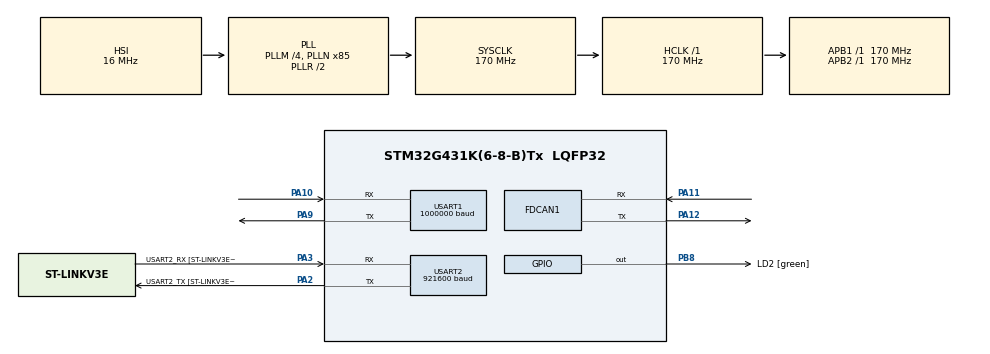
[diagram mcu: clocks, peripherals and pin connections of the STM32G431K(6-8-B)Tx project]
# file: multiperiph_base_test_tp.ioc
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Dma.Request0=USART1_RX
Dma.USART1_RX.0.Direction=DMA_PERIPH_TO_MEMORY
Dma.USART1_RX.0.EventEnable=DISABLE
Dma.USART1_RX.0.Instance=DMA1_Channel1
Dma.USART1_RX.0.MemDataAlignment=DMA_MDATAALIGN_BYTE
Dma.USART1_RX.0.MemInc=DMA_MINC_ENABLE
Dma.USART1_RX.0.Mode=DMA_CIRCULAR
Dma.USART1_RX.0.PeriphDataAlignment=DMA_PDATAALIGN_BYTE
Dma.USART1_RX.0.PeriphInc=DMA_PINC_DISABLE
Dma.USART1_RX.0.Polarity=HAL_DMAMUX_REQ_GEN_RISING
Dma.USART1_RX.0.Priority=DMA_PRIORITY_VERY_HIGH
Dma.USART1_RX.0.RequestNumber=1
Dma.USART1_RX.0.SignalID=NONE
Dma.USART1_RX.0.SyncEnable=DISABLE
Dma.USART1_RX.0.SyncPolarity=HAL_DMAMUX_SYNC_NO_EVENT
Dma.USART1_RX.0.SyncRequestNumber=1
Dma.USART1_RX.0.SyncSignalID=NONE
FDCAN1.CalculateBaudRateNominal=1111111
FDCAN1.CalculateTimeBitNominal=900
FDCAN1.CalculateTimeQuantumNominal=100.0
FDCAN1.NominalPrescaler=17
FDCAN1.NominalTimeSeg1=7
Mcu.Family=STM32G4
Mcu.Name=STM32G431K(6-8-B)Tx
Mcu.Package=LQFP32
NVIC.DMA1_Channel1_IRQn=true\:0\:0\:false\:false\:true\:false\:true\:true
NVIC.FDCAN1_IT0_IRQn=true\:0\:0\:false\:false\:true\:true\:true\:true
NVIC.PriorityGroup=NVIC_PRIORITYGROUP_4
NVIC.USART1_IRQn=true\:0\:0\:false\:false\:true\:true\:true\:true
NVIC.USART2_IRQn=true\:0\:0\:false\:false\:true\:true\:true\:true
PA10.Mode=Asynchronous
PA10.Signal=USART1_RX
PA11.Mode=FDCAN_Activate
PA11.Signal=FDCAN1_RX
PA12.Mode=FDCAN_Activate
PA12.Signal=FDCAN1_TX
PA13.GPIO_Label=T_SWDIO
PA13.Mode=Serial_Wire
PA13.Signal=SYS_JTMS-SWDIO
PA14.GPIO_Label=T_SWCLK
PA14.Mode=Serial_Wire
PA14.Signal=SYS_JTCK-SWCLK
PA2.GPIO_Label=USART2_TX [ST-LINKV3E_VCP_RX]
PA2.Mode=Asynchronous
PA2.Signal=USART2_TX
PA3.GPIO_Label=USART2_RX [ST-LINKV3E_VCP_TX]
PA3.Mode=Asynchronous
PA3.Signal=USART2_RX
PA9.Mode=Asynchronous
PA9.Signal=USART1_TX
PB3.GPIO_Label=T_SWO
PB3.Signal=SYS_JTDO-SWO
PB8-BOOT0.GPIO_Label=LD2 [green]
PB8-BOOT0.Signal=GPIO_Output
ProjectManager.HeapSize=0x200
ProjectManager.StackSize=0x400
ProjectManager.TargetToolchain=STM32CubeIDE
RCC.ADC12Freq_Value=170000000
RCC.AHBFreq_Value=170000000
RCC.APB1Freq_Value=170000000
RCC.APB1TimFreq_Value=170000000
RCC.APB2Freq_Value=170000000
RCC.APB2TimFreq_Value=170000000
RCC.CortexFreq_Value=170000000
RCC.EXTERNAL_CLOCK_VALUE=12288000
RCC.HCLKFreq_Value=170000000
RCC.HSE_VALUE=8000000
RCC.HSI48_VALUE=48000000
RCC.HSI_VALUE=16000000
RCC.LSE_VALUE=32768
RCC.PLLM=RCC_PLLM_DIV4
RCC.PLLN=85
RCC.SYSCLKFreq_VALUE=170000000
RCC.SYSCLKSource=RCC_SYSCLKSOURCE_PLLCLK
RCC.USBFreq_Value=170000000
RCC.VCOOutputFreq_Value=340000000
USART1.BaudRate=1000000
USART1.SwapParam=ADVFEATURE_SWAP_ENABLE
USART1.VirtualMode-Asynchronous=VM_ASYNC
USART2.BaudRate=921600
USART2.VirtualMode-Asynchronous=VM_ASYNC
USART2.WordLength=WORDLENGTH_8B
VP_SYS_VS_DBSignals.Mode=DisableDeadBatterySignals
board=NUCLEO-G431KB

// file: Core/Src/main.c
/* USER CODE BEGIN Header */
/**
 ******************************************************************************
 * @file           : main.c
 * @brief          : Main program body
 ******************************************************************************
 * @attention
 *
 * Copyright (c) 2024 STMicroelectronics.
 * All rights reserved.
 *
 * This software is licensed under terms that can be found in the LICENSE file
 * in the root directory of this software component.
 * If no LICENSE file comes with this software, it is provided AS-IS.
 *
 ******************************************************************************
 */
/* USER CODE END Header */
#include "main.h"
#include "dma.h"
#include "fdcan.h"
#include "usart.h"
#include "gpio.h"

/* USER CODE BEGIN Includes */
#include <stdio.h>
#include <stdbool.h>
#include <lidar.h>
#include <ihm.h>
#include "test.h"
#include "deplacement.h"
#include "utils.h"
#include <math.h> //pour formule

#define VERBOSE

/* USER CODE END Includes */

/* USER CODE BEGIN PV */
uint8_t flag_reception_uart2 = 0;
uint8_t caractere;

bool lidar_av = 0  ;

/* USER CODE END PV */

void SystemClock_Config(void);

/* USER CODE BEGIN 0 */

uint32_t message_id = 0x199;

FDCAN_TxHeaderTypeDef header1;
FDCAN_TxHeaderTypeDef header2;

uint16_t dist(int16_t x1, int16_t y1, int16_t x2, int16_t y2){
	return sqrt((x2 - x1) * (x2 - x1) + (y2 - y1) * (y2 - y1));
}

uint16_t find_discton(lidar_point_t* points, lidar_point_t* disctonts, uint16_t start, uint16_t stop)
	{ // renvoie le nombre de discontinuités trouvées

	uint16_t i = start;
	uint16_t disconts_nb = 0;

	while(i != stop)
		{

		if(dist(points[i].x, points[i].y, points[i+1 % 360].x, points[i+1 % 360].y) > 60){
			disctonts[disconts_nb] = points[i];
			disconts_nb++;
		}

		i++;
		if(i > 359) i = 0;
	}

	return disconts_nb; //essayer de printf disconts

}

#define PUTCHAR_PROTOTYPE int __io_putchar(int ch)
PUTCHAR_PROTOTYPE
{
	HAL_UART_Transmit(&huart2, (uint8_t*)&ch, 1, HAL_MAX_DELAY);

	return ch;
}

lidar_point_t pts[365] = {0};

void addPointToFIFO(lidar_point_t* p) {
	FDCAN_TxHeaderTypeDef header = {
		.BitRateSwitch = FDCAN_BRS_ON,
		.ErrorStateIndicator = FDCAN_ESI_ACTIVE,
		.FDFormat = FDCAN_CLASSIC_CAN,
		.IdType = FDCAN_STANDARD_ID,
		.MessageMarker = 0,
		.TxFrameType = FDCAN_DATA_FRAME,
		.TxEventFifoControl = FDCAN_NO_TX_EVENTS,

		.DataLength = 6,
		.Identifier = (lidar_av ? 0x200 : 0x201), //pour faire la comparaison
	};

	HAL_FDCAN_AddMessageToTxFifoQ(&hfdcan1, &header, (uint8_t*)p); //envoie trame
}

/* USER CODE END 0 */

int main(void)
{

  /* MCU Configuration--------------------------------------------------------*/

  /* Reset of all peripherals, Initializes the Flash interface and the Systick. */
  HAL_Init();

  /* Configure the system clock */
  SystemClock_Config();

  /* Initialize all configured peripherals */
  MX_GPIO_Init();
  MX_DMA_Init();
  MX_USART2_UART_Init();
  MX_FDCAN1_Init();
  MX_USART1_UART_Init();
  /* USER CODE BEGIN 2 */

  	lidar_av = (HAL_GetUIDw0() == 3014698); //verifier que cest le bon pour la carte avant

#ifdef VERBOSE
	printf("Programme interface LIDAR\n");
	printf("Compile le %s\n", __DATE__);
#endif

	HAL_FDCAN_Start(&hfdcan1);
	HAL_FDCAN_ActivateNotification(&hfdcan1, FDCAN_IT_RX_FIFO0_NEW_MESSAGE, 0);
	LCD_clear(); //clear

	//pour éviter de faire le start scan, demarrage automatique
	lidar_send_stop();
	HAL_Delay(1000);

	lidar_send_get_health();
	HAL_Delay(5000);

	lidar_send_start_scan();

	//fin

	HAL_UART_Receive_IT(&PC_HUART, &caractere, 1); // A laisser proche de la boucle while(1)
  /* USER CODE END 2 */

  /* Infinite loop */
  /* USER CODE BEGIN WHILE */
	while (1)
	{

		lidar_handle_receive_character();

		if (command_requested == LIDAR_SCAN_IN_PROGESS)
		{
			//lidar_print_array_distance_teleplot_format(data_lidar_mm_main, 360);
		}

#ifdef VERBOSE
		printf(">pts:");
		for(uint16_t i = 0; i < 360; i++){
			if(pts[i].valid) printf("%d:%d;", pts[i].x, pts[i].y);
		}
		printf("|xy,\n");
#endif

		/*
		lidar_point_t disconts[360];
		uint16_t disconts_nb = find_discton(pts, disconts, 0, 359);
		printf("disconts_nb : %d\n", disconts_nb);
*/

    /* USER CODE END WHILE */

	}
}

void SystemClock_Config(void)
{
  RCC_OscInitTypeDef RCC_OscInitStruct = {0};
  RCC_ClkInitTypeDef RCC_ClkInitStruct = {0};

  /** Configure the main internal regulator output voltage
  */
  HAL_PWREx_ControlVoltageScaling(PWR_REGULATOR_VOLTAGE_SCALE1_BOOST);

  /** Initializes the RCC Oscillators according to the specified parameters
  * in the RCC_OscInitTypeDef structure.
  */
  RCC_OscInitStruct.OscillatorType = RCC_OSCILLATORTYPE_HSI;
  RCC_OscInitStruct.HSIState = RCC_HSI_ON;
  RCC_OscInitStruct.HSICalibrationValue = RCC_HSICALIBRATION_DEFAULT;
  RCC_OscInitStruct.PLL.PLLState = RCC_PLL_ON;
  RCC_OscInitStruct.PLL.PLLSource = RCC_PLLSOURCE_HSI;
  RCC_OscInitStruct.PLL.PLLM = RCC_PLLM_DIV4;
  RCC_OscInitStruct.PLL.PLLN = 85;
  RCC_OscInitStruct.PLL.PLLP = RCC_PLLP_DIV2;
  RCC_OscInitStruct.PLL.PLLQ = RCC_PLLQ_DIV2;
  RCC_OscInitStruct.PLL.PLLR = RCC_PLLR_DIV2;
  if (HAL_RCC_OscConfig(&RCC_OscInitStruct) != HAL_OK)
  {
    Error_Handler();
  }

  /** Initializes the CPU, AHB and APB buses clocks
  */
  RCC_ClkInitStruct.ClockType = RCC_CLOCKTYPE_HCLK|RCC_CLOCKTYPE_SYSCLK
                              |RCC_CLOCKTYPE_PCLK1|RCC_CLOCKTYPE_PCLK2;
  RCC_ClkInitStruct.SYSCLKSource = RCC_SYSCLKSOURCE_PLLCLK;
  RCC_ClkInitStruct.AHBCLKDivider = RCC_SYSCLK_DIV1;
  RCC_ClkInitStruct.APB1CLKDivider = RCC_HCLK_DIV1;
  RCC_ClkInitStruct.APB2CLKDivider = RCC_HCLK_DIV1;

  if (HAL_RCC_ClockConfig(&RCC_ClkInitStruct, FLASH_LATENCY_4) != HAL_OK)
  {
    Error_Handler();
  }
}

/* USER CODE BEGIN 4 */
/**
 * @attention La migration du projet vers une version plus récente de Cube IDE ne fait plus fonctionner la réception de trames CAN
 */

void point_incoming(){
	uint16_t angle = 0;
	uint16_t distance = 0;
	bool is_first_scan_point = 0;

	lidar_decode_angle_and_distance(buffer_DMA_scan, &angle, &distance, &is_first_scan_point);

	if(angle < 100 || angle > 260)
	{

		if(!lidar_av) angle += 180; //Transformation pour le lidar arriere

		angle = angle % 360; //Replacement de ou notre obstacle se trouve

		pts[angle].valid = 1;
		polToCart(&pts[angle], distance, angle);
		addPointToFIFO(&pts[angle]);
	} else {
		pts[angle].valid = 0;
	}
}

void HAL_FDCAN_RxFifo0Callback(FDCAN_HandleTypeDef *hfdcan, uint32_t RxFifo0ITs) {
	HAL_FDCAN_GetRxMessage(&hfdcan1, FDCAN_RX_FIFO0,
			&buffer_trame_rx[marker1].header,
			&buffer_trame_rx[marker1].data[0]);

	switch (buffer_trame_rx[marker1].header.Identifier)
	{

	}

	marker1++;

	if (marker1 == 32) {
		marker1 = 0;
	}
}

void HAL_UART_RxHalfCpltCallback(UART_HandleTypeDef *huart)
{
	if (huart->Instance == USART1) {
		if (command_requested == LIDAR_SCAN_IN_PROGESS)
		{
			point_incoming();
		}
	}
}

void HAL_UART_RxCpltCallback(UART_HandleTypeDef *huart)
{
	if (huart->Instance == USART2) {
		flag_reception_uart2 = 1;
		/**
		 * @note Relancer la réception dans l'interruption
		 */
		HAL_UART_Receive_IT(&PC_HUART, &caractere, 1);
	}

	if (huart->Instance == USART1) {
		if (command_requested == LIDAR_GET_INFO)
		{
			printf("Response descriptor GET_INFO\n");
			lidar_decode_get_info(buffer_UART);
		} else if (command_requested == LIDAR_GET_HEALTH)
		{
			printf("Response descriptor GET_HEALTH\n");
			lidar_decode_get_health(buffer_UART);
		} else if (command_requested == LIDAR_START_SCAN)
		{
			printf("Response descriptor SCAN\n");
			command_requested = LIDAR_SCAN_IN_PROGESS;
			HAL_UART_Receive_DMA(&LIDAR_HUART, buffer_DMA_scan, BUFFER_DMA_SIZE);
		} else if (command_requested == LIDAR_GET_SAMPLERATE)
		{
			printf("Response descriptor GET_SAMPLERATE\n");
			/**
			 * @todo Verifer le retour quand le LIDAR est en mode balayage
			 */
			lidar_decode_get_samplerate(buffer_UART);
		} else if (command_requested == LIDAR_SCAN_IN_PROGESS) {
			point_incoming();
		}
	}
}

/* USER CODE END 4 */

void Error_Handler(void)
{
	__disable_irq();
	while (1)
	{
	}
}
